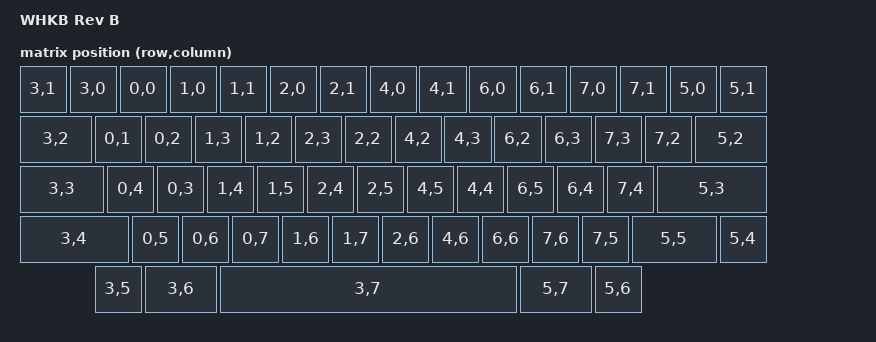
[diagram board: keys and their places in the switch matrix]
/*
 * Copyright (c) 2025 Stefan Sundin (4pplet)
 *
 * SPDX-License-Identifier: MIT
 */

/*
 * Additional peripheral pin mappings (not yet implemented):
 *
 * MAX17048 Fuel Gauge (I2C):
 *   Alert: P0.31
 */

#include <dt-bindings/zmk/matrix_transform.h>
#include <physical_layouts.dtsi>
#include "whkb_rev_b-pinctrl.dtsi"

/* Force Topre power off at boot to allow bootloader entry */
&gpio0 {
    topre_power_hog: topre-power-hog {
        gpio-hog;
        gpios = <29 GPIO_ACTIVE_HIGH>;
        output-low;
    };
};

/ {
    model = "WHKB Rev B";
    compatible = "applet,whkb";

    chosen {
        zmk,kscan = &kscan0;
        zmk,physical-layout = &physical_layout;
        zmk,studio-rpc-uart = &cdc_acm_uart;
    };

    kscan0: kscan_0 {
        compatible = "zmk,kscan-gpio-topre";
        /* Physical connector pinout (left to right, ANSI):
         * Pin 1,2: VCC_REG (3.3V from LDO)
         * Pin 3: P0.13 - KEY (~KEY, directly from comparator)
         * Pin 4: P0.20 - HYS (hysteresis control)
         * Pin 5: P0.17 - BIT0 (Row A)
         * Pin 6: P0.15 - BIT1 (Row B)
         * Pin 7: P0.07 - BIT2 (Row C)
         * Pin 8: P0.12 - BIT3 (Col A)
         * Pin 9: P0.04 - BIT4 (Col B)
         * Pin 10: P0.08 - BIT5 (Col C)
         * Pin 11: P0.06 - STROBE (~D enable)
         * Pin 12,13: GND
         *
         * P0.29 controls the LDO enable (DS8601-33S5) which powers the HHKB board
         */
        gpios = <&gpio0 29 GPIO_ACTIVE_HIGH>,              /* 0: POWER (LDO EN) */
                <&gpio0 13 (GPIO_ACTIVE_LOW|GPIO_PULL_UP)>, /* 1: KEY */
                <&gpio0 20 GPIO_ACTIVE_HIGH>,              /* 2: HYS */
                <&gpio0 17 GPIO_ACTIVE_HIGH>,              /* 3: BIT0 (Row A) */
                <&gpio0 15 GPIO_ACTIVE_HIGH>,              /* 4: BIT1 (Row B) */
                <&gpio0 7 GPIO_ACTIVE_HIGH>,               /* 5: BIT2 (Row C) */
                <&gpio0 12 GPIO_ACTIVE_HIGH>,              /* 6: BIT3 (Col A) */
                <&gpio0 4 GPIO_ACTIVE_HIGH>,               /* 7: BIT4 (Col B) */
                <&gpio0 8 GPIO_ACTIVE_HIGH>,               /* 8: BIT5 (Col C) */
                <&gpio0 6 GPIO_ACTIVE_HIGH>;               /* 9: STROBE */
        /* Timing parameters - using original whkb-zmk-config defaults.
         * Original driver used 6us/5us and worked on Rev A. */
        matrix-relax-us = <6>;
        adc-read-settle-us = <5>;
    };

    /* HHKB ANSI Layout - 60 keys */
    default_transform: keymap_transform_0 {
        compatible = "zmk,matrix-transform";
        columns = <8>;
        rows = <8>;
        map = <
        RC(3,1) RC(3,0) RC(0,0) RC(1,0) RC(1,1) RC(2,0) RC(2,1) RC(4,0) RC(4,1) RC(6,0) RC(6,1) RC(7,0) RC(7,1) RC(5,0) RC(5,1)
        RC(3,2) RC(0,1) RC(0,2) RC(1,3) RC(1,2) RC(2,3) RC(2,2) RC(4,2) RC(4,3) RC(6,2) RC(6,3) RC(7,3) RC(7,2) RC(5,2)
        RC(3,3) RC(0,4) RC(0,3) RC(1,4) RC(1,5) RC(2,4) RC(2,5) RC(4,5) RC(4,4) RC(6,5) RC(6,4) RC(7,4) RC(5,3)
        RC(3,4) RC(0,5) RC(0,6) RC(0,7) RC(1,6) RC(1,7) RC(2,6) RC(4,6) RC(6,6) RC(7,6) RC(7,5) RC(5,5) RC(5,4)
        RC(3,5) RC(3,6)                 RC(3,7)                 RC(5,7) RC(5,6)
        >;
    };

    physical_layout: physical_layout_0 {
        compatible = "zmk,physical-layout";
        display-name = "HHKB ANSI";
        transform = <&default_transform>;
        keys = <
            /* Row 0: 15 keys */
            &key_physical_attrs 100 100 0   0   0 0 0
            &key_physical_attrs 100 100 100 0   0 0 0
            &key_physical_attrs 100 100 200 0   0 0 0
            &key_physical_attrs 100 100 300 0   0 0 0
            &key_physical_attrs 100 100 400 0   0 0 0
            &key_physical_attrs 100 100 500 0   0 0 0
            &key_physical_attrs 100 100 600 0   0 0 0
            &key_physical_attrs 100 100 700 0   0 0 0
            &key_physical_attrs 100 100 800 0   0 0 0
            &key_physical_attrs 100 100 900 0   0 0 0
            &key_physical_attrs 100 100 1000 0  0 0 0
            &key_physical_attrs 100 100 1100 0  0 0 0
            &key_physical_attrs 100 100 1200 0  0 0 0
            &key_physical_attrs 100 100 1300 0  0 0 0
            &key_physical_attrs 100 100 1400 0  0 0 0
            /* Row 1: 14 keys */
            &key_physical_attrs 150 100 0   100 0 0 0
            &key_physical_attrs 100 100 150 100 0 0 0
            &key_physical_attrs 100 100 250 100 0 0 0
            &key_physical_attrs 100 100 350 100 0 0 0
            &key_physical_attrs 100 100 450 100 0 0 0
            &key_physical_attrs 100 100 550 100 0 0 0
            &key_physical_attrs 100 100 650 100 0 0 0
            &key_physical_attrs 100 100 750 100 0 0 0
            &key_physical_attrs 100 100 850 100 0 0 0
            &key_physical_attrs 100 100 950 100 0 0 0
            &key_physical_attrs 100 100 1050 100 0 0 0
            &key_physical_attrs 100 100 1150 100 0 0 0
            &key_physical_attrs 100 100 1250 100 0 0 0
            &key_physical_attrs 150 100 1350 100 0 0 0
            /* Row 2: 13 keys */
            &key_physical_attrs 175 100 0   200 0 0 0
            &key_physical_attrs 100 100 175 200 0 0 0
            &key_physical_attrs 100 100 275 200 0 0 0
            &key_physical_attrs 100 100 375 200 0 0 0
            &key_physical_attrs 100 100 475 200 0 0 0
            &key_physical_attrs 100 100 575 200 0 0 0
            &key_physical_attrs 100 100 675 200 0 0 0
            &key_physical_attrs 100 100 775 200 0 0 0
            &key_physical_attrs 100 100 875 200 0 0 0
            &key_physical_attrs 100 100 975 200 0 0 0
            &key_physical_attrs 100 100 1075 200 0 0 0
            &key_physical_attrs 100 100 1175 200 0 0 0
            &key_physical_attrs 225 100 1275 200 0 0 0
            /* Row 3: 13 keys (LShift 2.25u, 10x 1u, RShift 1.75u, Fn 1u) */
            &key_physical_attrs 225 100 0    300 0 0 0
            &key_physical_attrs 100 100 225  300 0 0 0
            &key_physical_attrs 100 100 325  300 0 0 0
            &key_physical_attrs 100 100 425  300 0 0 0
            &key_physical_attrs 100 100 525  300 0 0 0
            &key_physical_attrs 100 100 625  300 0 0 0
            &key_physical_attrs 100 100 725  300 0 0 0
            &key_physical_attrs 100 100 825  300 0 0 0
            &key_physical_attrs 100 100 925  300 0 0 0
            &key_physical_attrs 100 100 1025 300 0 0 0
            &key_physical_attrs 100 100 1125 300 0 0 0
            &key_physical_attrs 175 100 1225 300 0 0 0
            &key_physical_attrs 100 100 1400 300 0 0 0
            /* Row 4: 5 keys (bottom row: 1u LAlt, 1.5u LGui, 6u Space, 1.5u RGui, 1u RAlt) */
            &key_physical_attrs 100 100 150  400 0 0 0
            &key_physical_attrs 150 100 250  400 0 0 0
            &key_physical_attrs 600 100 400  400 0 0 0
            &key_physical_attrs 150 100 1000 400 0 0 0
            &key_physical_attrs 100 100 1150 400 0 0 0
        >;
    };

    buzzer: pwm_buzzer {
        compatible = "pwm-buzzer";
        pwms = <&pwm0 0 1000 PWM_POLARITY_NORMAL>;
        status = "disabled";  /* Verified working - disable for now */
    };

    leds {
        compatible = "gpio-leds";
        led_0: led_1 {
            gpios = <&gpio1 4 GPIO_ACTIVE_HIGH>;  /* P1.04 */
            status = "okay";
        };
        led_1: led_2 {
            gpios = <&gpio0 10 GPIO_ACTIVE_HIGH>; /* P0.10 */
            status = "okay";
        };
        led_2: led_3 {
            gpios = <&gpio1 6 GPIO_ACTIVE_HIGH>;  /* P1.06 */
            status = "okay";
        };
    };

    /* BQ24075 charger status input - active low when charging */
    charger_status {
        compatible = "gpio-keys";
        chg_pin: chg_pin {
            gpios = <&gpio0 30 (GPIO_ACTIVE_LOW | GPIO_PULL_UP)>; /* P0.30 CHG */
        };
    };

    aliases {
        led1 = &led_0;
        led2 = &led_1;
        led3 = &led_2;
        buzzer = &buzzer;
        chg-status = &chg_pin;
    };
};

&pwm0 {
    status = "okay";
    pinctrl-0 = <&pwm0_default>;
    pinctrl-1 = <&pwm0_sleep>;
    pinctrl-names = "default", "sleep";
};

/* USB CDC ACM for logging */
&usbd {
    cdc_acm_uart: cdc_acm_uart {
        compatible = "zephyr,cdc-acm-uart";
    };
};

/*
 * ADXL362 accelerometer for wakeup from sleep
 * Uses ec-support-zmk-module from petejohanson
 */
&spi1 {
    status = "okay";
    compatible = "nordic,nrf-spim";
    pinctrl-0 = <&spi1_default>;
    pinctrl-1 = <&spi1_sleep>;
    pinctrl-names = "default", "sleep";
    cs-gpios = <&gpio0 3 GPIO_ACTIVE_LOW>; /* P0.03 CS */

    wakeup_trigger: wakeup_trigger@0 {
        compatible = "zmk,adxl362-awake-trigger";
        status = "disabled";  /* Enable after basic keyboard verified */
        reg = <0>;
        spi-max-frequency = <8000000>;
        int1-gpios = <&gpio1 10 GPIO_ACTIVE_HIGH>; /* P1.10 AWAKE */
        int2-gpios = <&gpio1 10 GPIO_ACTIVE_HIGH>; /* Same pin - workaround for module macro */
        wakeup-source;
        linked-devices = <&kscan0>;

        normal {
            activity-threshold = <18>;
            activity-time = <0>;
            inactivity-threshold = <60>;
            inactivity-time = <100>;
        };

        sleep {
            activity-threshold = <140>;
            activity-time = <0>;
            inactivity-threshold = <500>;
            inactivity-time = <0>;
        };
    };
};
